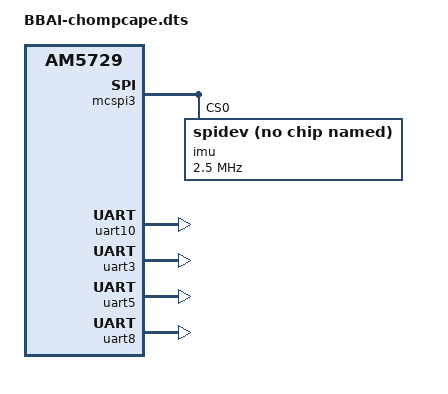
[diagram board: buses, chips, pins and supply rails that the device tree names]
/* vim: set sw=4 ts=4 noet: */
/dts-v1/;
/plugin/;

#include <dt-bindings/pinctrl/dra.h>

/ {
	compatible = "beagle,am5729-beagleboneai";

	fragment@0 {
		target = <&cape_pins>;
		__overlay__ {
			status = "disabled";
		};
	};

	fragment@1 {
		target = <&dra7_pmx_core>;
		__overlay__ {
			bbai_spi3_pins: pinmux_spi3_pins {
				pinctrl-single,pins = <
					/* A12: P9.28: mcasp1_axr11.off spi3_cs0 */
					DRA7XX_CORE_IOPAD(0x36E0, PIN_OUTPUT | MUX_MODE3)
					/* A11: P9.29a: mcasp1_axr9.off spi3_d1 */
					DRA7XX_CORE_IOPAD(0x36D8, PIN_INPUT_PULLUP | MUX_MODE3)
					/* D14: P9.29b: mcasp1_fsx.off off */
					DRA7XX_CORE_IOPAD(0x36A8, MUX_MODE15)
					/* B13: P9.30: mcasp1_axr10.off spi3_d0 */
					DRA7XX_CORE_IOPAD(0x36DC, PIN_OUTPUT | MUX_MODE3)
					/* B12: P9.31a: mcasp1_axr8.off spi3_sclk */
					DRA7XX_CORE_IOPAD(0x36D4, PIN_OUTPUT | MUX_MODE3)
					/* C14: P9.31b: mcasp1_aclkx.off off */
					DRA7XX_CORE_IOPAD(0x36A4, MUX_MODE15)
					/* E14: P9.42a: mcasp1_axr12.off spi3_cs1 */
					DRA7XX_CORE_IOPAD(0x36E4, MUX_MODE3)
					/* C2: P9.42b: vin2a_d13.off off*/
					DRA7XX_CORE_IOPAD(0x359C, MUX_MODE15)
				>;
			};
			bbai_uart10_pins: pinmux_bbai_uart10_pins {
				pinctrl-single,pins = <
					/* F20: P9.24: gpio6_15.off uart10_txd */
					DRA7XX_CORE_IOPAD(0x368C, PIN_OUTPUT | MUX_MODE3)
					/* E21: P9.26a: gpio6_14.off uart10_rxd */
					DRA7XX_CORE_IOPAD(0x3688, PIN_INPUT | MUX_MODE3)
					/* AE2: P9.26b: vin1a_d20.off off */
					DRA7XX_CORE_IOPAD(0x3544, MUX_MODE15)
					>;
					/* CTS */
				    /* AB8: P8.3: mmc3_dat6.offauart10_ctsn  */
					/* DRA7XX_CORE_IOPAD(0x379C, PIN_INPUT | MUX_MODE3) */
					/* RTS */
					/* AB5: P8.4: mmc3_dat7.off */
					/* DRA7XX_CORE_IOPAD(0x37A0, MUX_MODE14) */
					/* Alternate TXD */
					/* AD6: P8.22: mmc3_dat5.off uart10_txd */
					/* DRA7XX_CORE_IOPAD(0x3798, PIN_OUTPUT | MUX_MODE3) */
					/* Alternate RXD */
					/* AC8: P8.23: mmc3_dat4.off uart10_rxd */
					/* DRA7XX_CORE_IOPAD(0x3794, PIN_INPUT | MUX_MODE3) */
					/* D1: P8.15a: vin2a_d2.off */
					/* DRA7XX_CORE_IOPAD(0x3570, MUX_MODE14) */
					/* A3: P8.15b: vin2a_d19.off uart10_rxd */
					/* DRA7XX_CORE_IOPAD(0x35B4, PIN_INPUT | MUX_MODE8) */
			};
			bbai_uart3_pins: pinmux_bbai_uart3_pins {
				pinctrl-single,pins = <
					/* B26: P9.22a: xref_clk2.off off */
					DRA7XX_CORE_IOPAD(0x369C, MUX_MODE15)
					/* A26: P9.22b: spi2_sclk.off uart3_rxd */
					DRA7XX_CORE_IOPAD(0x37C0, PIN_INPUT | MUX_MODE1)
					/* AF8: P9.21a: vin1a_vsync0.off off */
					DRA7XX_CORE_IOPAD(0x34F0, MUX_MODE15)
					/* B22: P9.21b: spi2_d1.off uart3_txd */
					DRA7XX_CORE_IOPAD(0x37C4, PIN_OUTPUT | MUX_MODE1)
					>;
					/* RTS */
					/* B24: P9.17a: spi2_cs0.off uart3_rtsn */
					/* DRA7XX_CORE_IOPAD(0x37CC, PIN_OUTPUT | MUX_MODE1) */
					/* F12: P9.17b: mcasp1_axr1.off off */
					/* DRA7XX_CORE_IOPAD(0x36B8, MUX_MODE15) */
					/* CTS */
					/* G17: P9.18a: spi2_d0.off uart3_ctsn */
					/* DRA7XX_CORE_IOPAD(0x37C8, PIN_INPUT | MUX_MODE1) */
					/* G12: P9.18b: mcasp1_axr0.off off */
					/* DRA7XX_CORE_IOPAD(0x36B4, MUX_MODE14) */
			};
			bbai_uart5_pins: pinmux_bbai_uart5_pins {
				pinctrl-single,pins = <
					/* B19: P9.11a: mcasp3_axr0.off uart5_rxd */
					DRA7XX_CORE_IOPAD(0x372C, PIN_INPUT_PULLUP | MUX_MODE4)
					/* B8: P9.11b: vout1_d17.off off */
					DRA7XX_CORE_IOPAD(0x3620, MUX_MODE15)
					/* C17: P9.13: mcasp3_axr1.off uart5_txd*/
					DRA7XX_CORE_IOPAD(0x3730, PIN_OUTPUT | MUX_MODE4)
					/* AC3: P8.6: mmc3_dat3.off uart5_rtsn */
					DRA7XX_CORE_IOPAD(0x3790, PIN_OUTPUT | MUX_MODE2)
					>;
					/* CTS */
					/* AC9: P8.5: mmc3_dat2.off uart5_ctsn */
					/* DRA7XX_CORE_IOPAD(0x378C, PIN_INPUT | MUX_MODE2) */

					/* TXD */
					/* AC6: P8.24: mmc3_dat1.off uart5_txd */
					/* DRA7XX_CORE_IOPAD(0x3788, PIN_OUTPUT | MUX_MODE2) */
					/* B7: P8.45b: vout1_d16.off off */
					/* DRA7XX_CORE_IOPAD(0x361C, MUX_MODE15) */
					/* G10: P8.46a: vout1_d1.off uart5_txd */
					/* DRA7XX_CORE_IOPAD(0x35E0, PIN_OUTPUT | MUX_MODE2) */
					/* B24: P9.17a: spi2_cs0.off uart5_txd */
					/* DRA7XX_CORE_IOPAD(0x37CC, PIN_OUTPUT | MUX_MODE2) */
					/* F12: P9.17b: mcasp1_axr1.off off */
					/* DRA7XX_CORE_IOPAD(0x36B8, MUX_MODE15) */

					/* RXD */
					/* AC7: P8.25: mmc3_dat0.off uart5_rxd */
					/* DRA7XX_CORE_IOPAD(0x3784, PIN_INPUT | MUX_MODE2) */
					/* F11: P8.45a: vout1_d0.off uart5_rxd */
					/* DRA7XX_CORE_IOPAD(0x35DC, PIN_INPUT | MUX_MODE2) */
					/* A10: P8.46b: vout1_d23.off off */
					/* DRA7XX_CORE_IOPAD(0x3638, MUX_MODE15) */
					/* G17: P9.18a: spi2_d0.off uart5_rxd */
					/* DRA7XX_CORE_IOPAD(0x37C8, PIN_INPUT MUX_MODE2) */
					/* G12: P9.18b: mcasp1_axr0.off off */
					/* DRA7XX_CORE_IOPAD(0x36B4, MUX_MODE14) */
					/* R6: P9.19a: gpmc_a0.i2c4_scl uart5_rxd */
					/* DRA7XX_CORE_IOPAD(0x3440, PIN_INPUT | MUX_MODE8) */
					/* F4: P9.19b: vin2a_d5.pr1_pru1_gpi2 */
					/* DRA7XX_CORE_IOPAD(0x357C, MUX_MODE15) */
			};
			bbai_uart8_pins: pinmux_bbai_uart8_pins {
				pinctrl-single,pins = <
					DRA7XX_CORE_IOPAD(0x35FC, MUX_MODE15) /* off */ /* E8: P8.37a: vout1_d8.off */
					DRA7XX_CORE_IOPAD(0x3738, MUX_MODE15 | PIN_INPUT_PULLDOWN)  /* uart8_txd */ /* A21: P8.37b: mcasp4_fsx.off */
					DRA7XX_CORE_IOPAD(0x3600, MUX_MODE15) /* off */ /* D9: P8.38a: vout1_d9.off */
					DRA7XX_CORE_IOPAD(0x3734, MUX_MODE3 | PIN_INPUT) /* uar8_rxd */ /* C18: P8.38b: mcasp4_aclkx.off */
				>;
			};

			bbai_ssr_pins: pinmux_bbai_ssr_pins {
				pinctrl-single,pins = <
					DRA7XX_CORE_IOPAD(0x35D8, PIN_OUTPUT|MUX_MODE14) /* E11: P8.27a: vout1_vsync.off */
					DRA7XX_CORE_IOPAD(0x3628, MUX_MODE15) /* A8: P8.27b: vout1_d19.off */
					DRA7XX_CORE_IOPAD(0x35C8, PIN_OUTPUT|MUX_MODE14) /* D11: P8.28a: vout1_clk.off */
					DRA7XX_CORE_IOPAD(0x362C, MUX_MODE15) /* C9: P8.28b: vout1_d20.off */
					DRA7XX_CORE_IOPAD(0x35D4, PIN_OUTPUT|MUX_MODE14) /* C11: P8.29a: vout1_hsync.off */
					DRA7XX_CORE_IOPAD(0x3630, MUX_MODE15) /* A9: P8.29b: vout1_d21.off */
					DRA7XX_CORE_IOPAD(0x35CC, PIN_OUTPUT|MUX_MODE14) /* B10: P8.30a: vout1_de.off */
					DRA7XX_CORE_IOPAD(0x3634, MUX_MODE15) /* B9: P8.30b: vout1_d22.off */
					DRA7XX_CORE_IOPAD(0x3614, PIN_OUTPUT|MUX_MODE14) /* C8: P8.31a: vout1_d14.off */
					DRA7XX_CORE_IOPAD(0x373C, MUX_MODE15) /* G16: P8.31b: mcasp4_axr0.off */
					DRA7XX_CORE_IOPAD(0x3618, PIN_OUTPUT|MUX_MODE14) /* C7: P8.32a: vout1_d15.off */
					DRA7XX_CORE_IOPAD(0x3740, MUX_MODE14) /* D17: P8.32b: mcasp4_axr1.off */
					DRA7XX_CORE_IOPAD(0x3610, PIN_OUTPUT|MUX_MODE14) /* C6: P8.33a: vout1_d13.off */
					DRA7XX_CORE_IOPAD(0x34E8, MUX_MODE15) /* AF9: P8.33b: vin1a_fld0.off */
					DRA7XX_CORE_IOPAD(0x3608, PIN_OUTPUT|MUX_MODE14) /* D8: P8.34a: vout1_d11.off */
					DRA7XX_CORE_IOPAD(0x3564, MUX_MODE15) /* G6: P8.34b: vin2a_vsync0.off */
					DRA7XX_CORE_IOPAD(0x360C, PIN_OUTPUT|MUX_MODE14) /* A5: P8.35a: vout1_d12.off */
					DRA7XX_CORE_IOPAD(0x34E4, MUX_MODE15) /* AD9: P8.35b: vin1a_de0.off */
					DRA7XX_CORE_IOPAD(0x3604, PIN_OUTPUT|MUX_MODE14) /* D7: P8.36a: vout1_d10.off */
					DRA7XX_CORE_IOPAD(0x3568, MUX_MODE15) /* F2: P8.36b: vin2a_d0.off */
				>;
			};
		};
	};

	fragment@2 {
		target = <&mcspi3>;
		__overlay__ {

			#address-cells = <1>;
			#size-cells = <0>;
			status = "okay";
			pinctrl-names = "default";
			pinctrl-0 = <&bbai_spi3_pins>;
			ti,pindir-d0-out-d1-in = <1>;

			imu@0 {
			    compatible = "rohm,dh2228fv";
				spi-max-frequency = <2500000>;
				reg = <0>;
			};
		};
	};

	fragment@3 {
		target = <&uart10>;
		__overlay__ {
			status = "okay";
			pinctrl-names = "default";
			pinctrl-0 = <&bbai_uart10_pins>;
		};
	};

	fragment@4 {
		target = <&uart3>;
		__overlay__ {
			status = "okay";
			pinctrl-names = "default";
			pinctrl-0 = <&bbai_uart3_pins>;
		};
	};

	fragment@5 {
		target = <&uart5>;
		__overlay__ {
			status = "okay";
			pinctrl-names = "default";
			pinctrl-0 = <&bbai_uart5_pins>;
		};
	};

	fragment@6 {
		target = <&uart8>;
		__overlay__ {
			status = "okay";
			pinctrl-names = "default";
			pinctrl-0 = <&bbai_uart8_pins>;
		};
	};

	fragment@7 {
		target-path="/";
		__overlay__ {
			ssr_pins: ssr_pins {
				compatible = "gpio-leds";
				pinctrl-names = "default";
				pinctrl-0 = <&bbai_ssr_pins>;
				status = "okay";
			};
		};
	};
};
